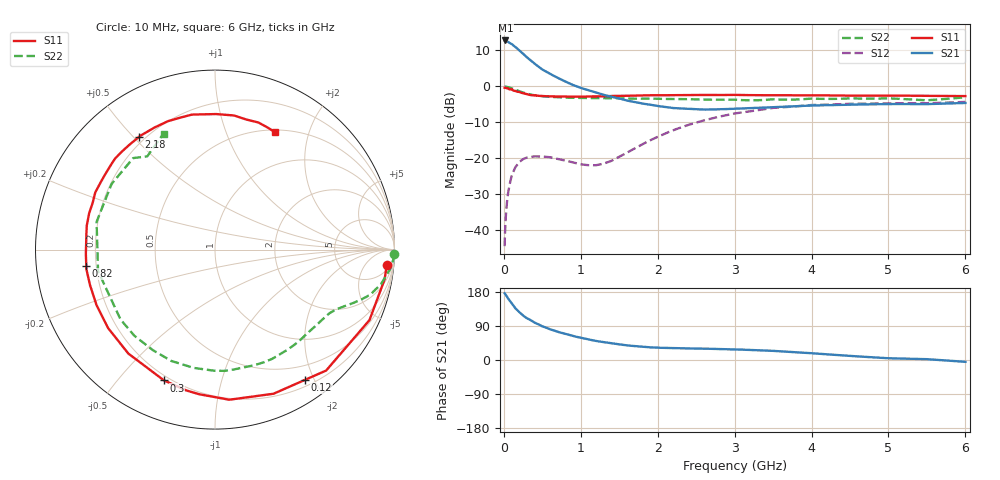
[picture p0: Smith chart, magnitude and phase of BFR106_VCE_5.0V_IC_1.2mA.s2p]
! Infineon Technologies  Discrete & RF Semiconductors
! BFR106
! VCE =  5.0 V,  IC =  1.2 mA
! Common Emitter S-Parameters:  Nov 2015
# GHz  S  MA  R  50
!  f  S11  S21  S12  S22
! GHz  MAG  ANG  MAG  ANG  MAG  ANG  MAG  ANG
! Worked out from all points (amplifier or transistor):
!   210 points, 10 MHz to 6 GHz, reference 50 ohm
!   highest |S21| = 12.8 dB at 20 MHz (marker M1)
!   |S21| within 3 dB of that: start of sweep to 213.3 MHz
!   unconditionally stable (mu >= 1): 846.2 MHz to 1.868 GHz; 3.119 GHz to end of sweep
!   at 185 MHz: K = 0.21, MSG = 15.9 dB, |S12| = -21.5 dB
!   at 1.52 GHz: K = 1.25, MAG = 4.9 dB, |S12| = -19.3 dB
!   at 6 GHz: K = 1.02, MAG = -1.0 dB, |S12| = -4.3 dB
!   S11 on the Smith chart (normalised r, x): 10 MHz: 9, -19; 120 MHz: 0.29, -1.87; 300 MHz: 0.18, -0.67; 820 MHz: 0.16, -0.06; 2.18 GHz: 0.18, +0.52; 6 GHz: 0.53, +1.50
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0.01  0.9612 -5.0  4.342 176.2  0.006 88.7  0.9999 -1.4
0.02  0.9594 -10.0  4.362 173.7  0.012 85.4  0.9979 -2.6
0.05  0.9461 -24.5  4.204 163.6  0.0302 75.6  0.9812 -6.4
0.1  0.9152 -47.4  3.918 150.0  0.0561 64.1  0.9444 -11.8
0.12  0.8823 -55.3  3.748 144.8  0.0635 58.9  0.9263 -13.5
0.15  0.8668 -67.9  3.556 136.3  0.0754 53.2  0.9007 -16.2
0.2  0.8402 -84.6  3.187 126.5  0.0884 45.1  0.8595 -19.0
0.26  0.8006 -101.6  2.778 115.8  0.0986 37.3  0.8159 -21.7
0.3  0.7822 -111.3  2.54 110.1  0.1025 33.7  0.7929 -23.2
0.4  0.7541 -129.8  2.071 98.6  0.1065 26.4  0.753 -26.2
0.5  0.7389 -143.7  1.721 88.9  0.106 22.0  0.7301 -29.0
0.6  0.7289 -154.9  1.495 81.1  0.1036 19.8  0.7165 -32.2
0.82  0.7231 -172.8  1.143 67.6  0.0922 21.3  0.6979 -39.5
1.02  0.721 174.0  0.94 57.6  0.0821 30.2  0.692 -46.9
1.4  0.7392 154.5  0.716 44.0  0.0924 61.3  0.6868 -62.5
2.02  0.7539 129.6  0.531 32.3  0.2037 75.7  0.6734 -91.4
2.18  0.7575 124.1  0.504 31.3  0.2407 73.9  0.6693 -99.3
3.1  0.7596 97.7  0.494 27.3  0.4352 51.9  0.6453 -148.7
3.5  0.7552 89.5  0.514 24.1  0.5029 41.7  0.6625 -169.6
4.1  0.7522 80.8  0.546 16.4  0.5544 26.9  0.6725 163.0
5.1  0.7462 70.2  0.57 4.1  0.583 9.0  0.675 130.7
6  0.734 62.9  0.589 -4.8  0.6092 -2.4  0.707 113.9
